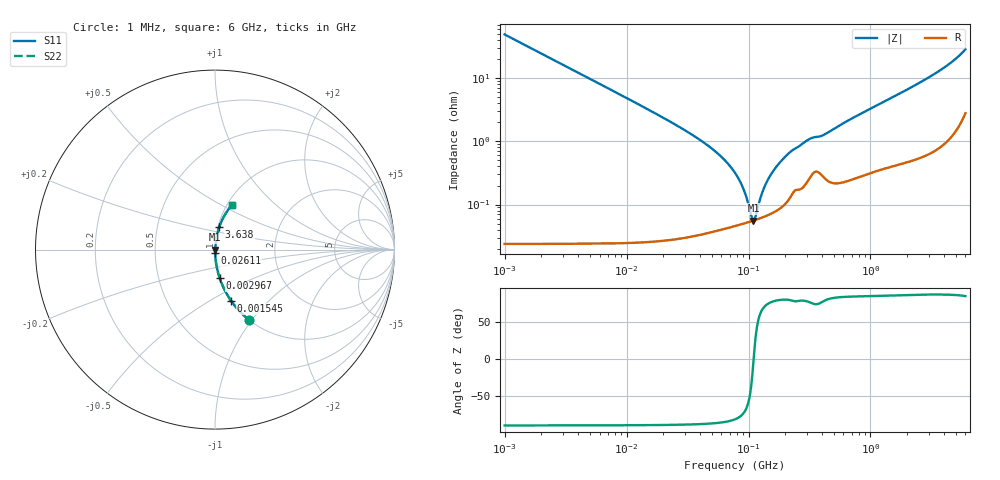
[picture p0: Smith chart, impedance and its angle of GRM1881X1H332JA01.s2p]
!Murata Part Number: GRM1881X1H332JA01
!These Parameters are Measured in Series Mode Connection
!Data Generated on Mar 30, 2021
!  o--ll--o
!Port1  Port2
!  o------o
!Operation Temp=25[degC], DC Bias Voltage=0[V]
!Freq. Start=1000[kHz] Stop=6[GHz] 401[Steps]
# Hz S RI R 50
!Freq.(Hz) S11(Real) S11(Imag) S21(Real) S21(Imag) S12(Real) S12(Imag) S22(Real) S22(Imag)
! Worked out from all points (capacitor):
!   401 points, 1 MHz to 6 GHz, reference 50 ohm
!   read as one part in series: C = 3.27 nF near 1.044 MHz
!   lowest |Z| = 55.9 mohm at 109.7 MHz (marker M1)
!   series resonance near 110.2 MHz, so ESL is about 640 pH
!   S11 on the Smith chart (normalised r, x): 1 MHz: 1.00, -0.97; 1.545 MHz: 1.00, -0.63; 2.967 MHz: 1.00, -0.33; 26.11 MHz: 1.00, -0.04; 3.638 GHz: 1.02, +0.26; 6 GHz: 1.06, +0.57
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1000000  0.1919 -0.3935  0.8081 0.3935  0.8081 0.3935  0.1919 -0.3935
1544926  0.0906 -0.2866  0.9094 0.2866  0.9094 0.2866  0.0906 -0.2866
2966668  0.0264 -0.1597  0.9736 0.1597  0.9736 0.1597  0.0264 -0.1597
4293785  0.0129 -0.1118  0.9871 0.1118  0.9871 0.1118  0.0129 -0.1118
1.843659e7  0.000919 -0.0256  0.9991 0.0256  0.9991 0.0256  0.000919 -0.0256
2.610999e7  0.000593 -0.0175  0.9994 0.0175  0.9994 0.0175  0.000593 -0.0175
5.236714e7  0.000425 -0.00713  0.9996 0.00713  0.9996 0.00713  0.000425 -0.00713
6.508975e7  0.000441 -0.00481  0.9996 0.00481  0.9996 0.00481  0.000441 -0.00481
7.745967e7  0.000467 -0.00314  0.9995 0.00314  0.9995 0.00314  0.000467 -0.00314
9.019724e7  0.0005 -0.00176  0.9995 0.00176  0.9995 0.00176  0.0005 -0.00176
1.050294e8  0.000543 -0.00042  0.9995 0.00042  0.9995 0.00042  0.000543 -0.00042
1.096987e8  0.000558 -4.06e-05  0.9994 4.06e-05  0.9994 4.06e-05  0.000558 -4.06e-05
1.145757e8  0.000573 0.000338  0.9994 -0.000338  0.9994 -0.000338  0.000573 0.000338
1.277378e8  0.000619 0.00129  0.9994 -0.00129  0.9994 -0.00129  0.000619 0.00129
1.363501e8  0.000652 0.00187  0.9993 -0.00187  0.9993 -0.00187  0.000652 0.00187
1.658303e8  0.00079 0.00369  0.9992 -0.00369  0.9992 -0.00369  0.00079 0.00369
2.200158e8  0.00134 0.00665  0.9987 -0.00665  0.9987 -0.00665  0.00134 0.00665
3.325952e8  0.0031 0.0109  0.9969 -0.0109  0.9969 -0.0109  0.0031 0.0109
4.133993e8  0.00283 0.0123  0.9972 -0.0123  0.9972 -0.0123  0.00283 0.0123
1.428092e9  0.006 0.046  0.994 -0.046  0.994 -0.046  0.006 0.046
3.638376e9  0.0235 0.1243  0.9765 -0.1243  0.9765 -0.1243  0.0235 0.1243
6e9  0.0956 0.2491  0.9044 -0.2491  0.9044 -0.2491  0.0956 0.2491
